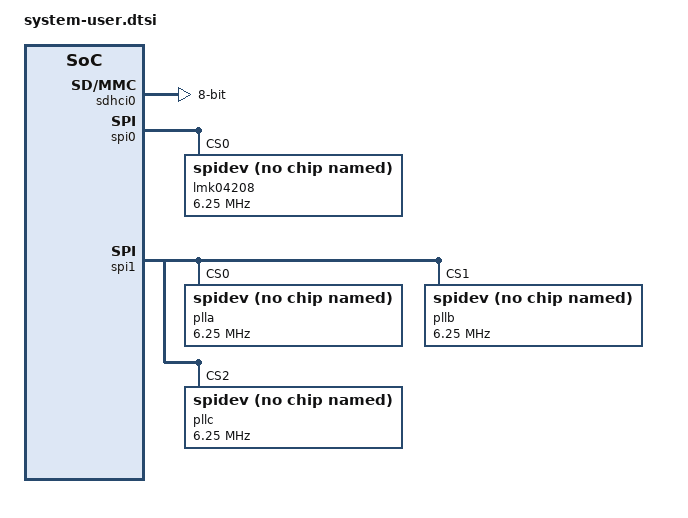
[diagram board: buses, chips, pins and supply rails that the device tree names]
/include/ "system-conf.dtsi"
/ {
	chosen {
		bootargs = "earlycon clk_ignore_unused root=/dev/mmcblk1p2 rw rootwait cpuidle.off=1 console=ttyPS0,115200 uio_pdrv_genirq.of_id=generic-uio";
		stdout-path = "serial0:115200n8";
	};

	user_io@a0000000 {
		compatible = "generic-uio";
		reg = <0x0 0xa0000000 0x0 0x20000000>;
		linux,uio-name = "user_io";
	};

	/* Eight 2 MiB DMA buffers, allocated from the 256 MiB CMA pool by the
	 * u-dma-buf module (recipes-modules/u-dma-buf). Each appears as
	 * /dev/udmabufN with its own independent sysfs sync controls, so
	 * separate processes should each claim their own device rather than
	 * share one. mmap without O_SYNC for a cacheable mapping; physical
	 * address for DMA is in /sys/class/u-dma-buf/udmabufN/phys_addr.
	 * If a buffer is ever targeted by a coherent master (e.g. LPD ADMA
	 * with AWCACHE=0xF), add "dma-coherent;" to that node and skip the
	 * sync_for_cpu step. */
	udmabuf@0 {
		compatible = "ikwzm,u-dma-buf";
		device-name = "udmabuf0";
		size = <0x200000>;
	};
	udmabuf@1 {
		compatible = "ikwzm,u-dma-buf";
		device-name = "udmabuf1";
		size = <0x200000>;
	};
	udmabuf@2 {
		compatible = "ikwzm,u-dma-buf";
		device-name = "udmabuf2";
		size = <0x200000>;
	};
	udmabuf@3 {
		compatible = "ikwzm,u-dma-buf";
		device-name = "udmabuf3";
		size = <0x200000>;
	};
	udmabuf@4 {
		compatible = "ikwzm,u-dma-buf";
		device-name = "udmabuf4";
		size = <0x200000>;
	};
	udmabuf@5 {
		compatible = "ikwzm,u-dma-buf";
		device-name = "udmabuf5";
		size = <0x200000>;
	};
	udmabuf@6 {
		compatible = "ikwzm,u-dma-buf";
		device-name = "udmabuf6";
		size = <0x200000>;
	};
	udmabuf@7 {
		compatible = "ikwzm,u-dma-buf";
		device-name = "udmabuf7";
		size = <0x200000>;
	};
};

&flash0 {
        compatible = "micron,mt25qu512a","jedec,spi-nor";
        spi-max-frequency = <40000000>;
        reg = <0x0>;
        #address-cells = <1>;
        #size-cells = <1>;
};

&sdhci0 {
//      no-1-8-v;
        bus-width = <8>;
        cap-mmc-highspeed;
        mmc-hs200-1_8v;
};

&sdhci1 {
        no-1-8-v;
};

&spi0 {
        #address-cells = <0x1>;
        #size-cells = <0x0>;
        /* Use the compatible "rohm,dh2228fv" to trigger spidev without kernel error. */
        lmk04208: spi@0 {
                compatible = "rohm,dh2228fv";
                reg = <0>;
                spi-max-frequency = <6250000>;
        };
};

&spi1 {
        #address-cells = <0x1>;
        #size-cells = <0x0>;
        /* Use the compatible "rohm,dh2228fv" to trigger spidev without kernel error.*/
        plla: spi@0 {
                compatible = "rohm,dh2228fv";
                reg = <0>;
                spi-max-frequency = <6250000>;
        };
        pllb: spi@1 {
                compatible = "rohm,dh2228fv";
                reg = <1>;
                spi-max-frequency = <6250000>;
        };
        pllc: spi@2 {
                compatible = "rohm,dh2228fv";
                reg = <2>;
                spi-max-frequency = <6250000>;
        };
};

&gem2 {
    xlnx,ptp-enet-clock = <0x0EE6B280>; /* 250 MHz */
};
